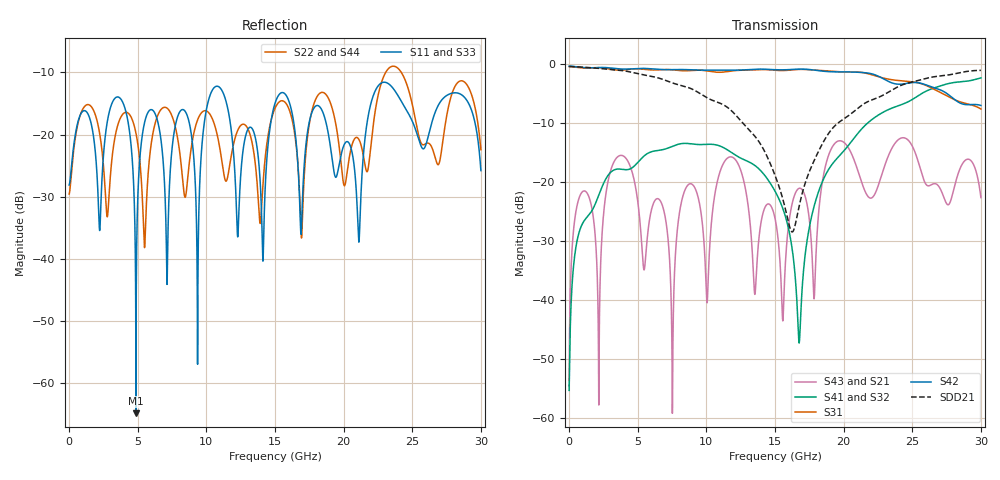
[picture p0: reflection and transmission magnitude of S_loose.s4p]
!diffpair-meanders S_loose (straight pair, 6 mm serpentine on P, folds 1.0 mm apart), mesh medium
!ports 1 P_near 2 N_near 3 P_far 4 N_far; openEMS FDTD, lumped 50 ohm ports
# Hz S RI R 50.0
! Port[1] = P_near
! Port[2] = N_near
! Port[3] = P_far
! Port[4] = N_far
!freq ReS11 ImS11 ReS12 ImS12 ReS13 ImS13
! ReS14 ImS14
! ReS21 ImS21 ReS22 ImS22 ReS23 ImS23
! ReS24 ImS24
! ReS31 ImS31 ReS32 ImS32 ReS33 ImS33
! ReS34 ImS34
! ReS41 ImS41 ReS42 ImS42 ReS43 ImS43
! ReS44 ImS44
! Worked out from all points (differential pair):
!   3000 points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, 10 MHz to 30 GHz, reference 50 ohm
!   strongest paths, dB at 10 MHz, 7.51 GHz, 15.01 GHz, 22.51 GHz, 30 GHz:
!     S42: -0.4, -1.0, -1.0, -2.1, -7.1
!     S31: -0.5, -1.0, -1.1, -2.2, -7.6
!     S41: -55.3, -14.0, -21.6, -8.7, -2.4
!     S32: -55.3, -14.0, -21.6, -8.7, -2.4
!     S43: -54.6, -51.3, -26.2, -20.7, -22.7
!     S21: -54.6, -51.3, -26.2, -20.7, -22.7
!   taken as a pair (ports 2,1 in; 4,3 out), SDD21 dB: -0.5, -3.2, -18.9, -5.7, -1.1
!   lowest |S11| = -64.8 dB at 4.88 GHz (marker M1), VSWR 1.00, Z = 50 + j0.0552 ohm
!   |S11| at or under -10 dB: start of sweep to end of sweep
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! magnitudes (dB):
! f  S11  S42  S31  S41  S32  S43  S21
! 10 MHz  -28.1  -0.4  -0.5  -55.3  -55.3  -54.6  -54.6
! 810 MHz  -16.9  -0.6  -0.7  -28.0  -28.0  -22.3  -22.3
! 4.88 GHz  -64.8  -0.8  -0.8  -17.0  -17.0  -21.3  -21.3
! 7.53 GHz  -21.8  -1.0  -1.0  -14.0  -14.0  -59.2  -59.2
! 16.77 GHz  -29.0  -0.9  -0.9  -47.3  -49.7  -21.1  -21.1
! 19.11 GHz  -23.0  -1.3  -1.2  -17.2  -17.2  -14.4  -14.4
! 30 GHz  -25.8  -7.1  -7.6  -2.4  -2.4  -22.7  -22.7
